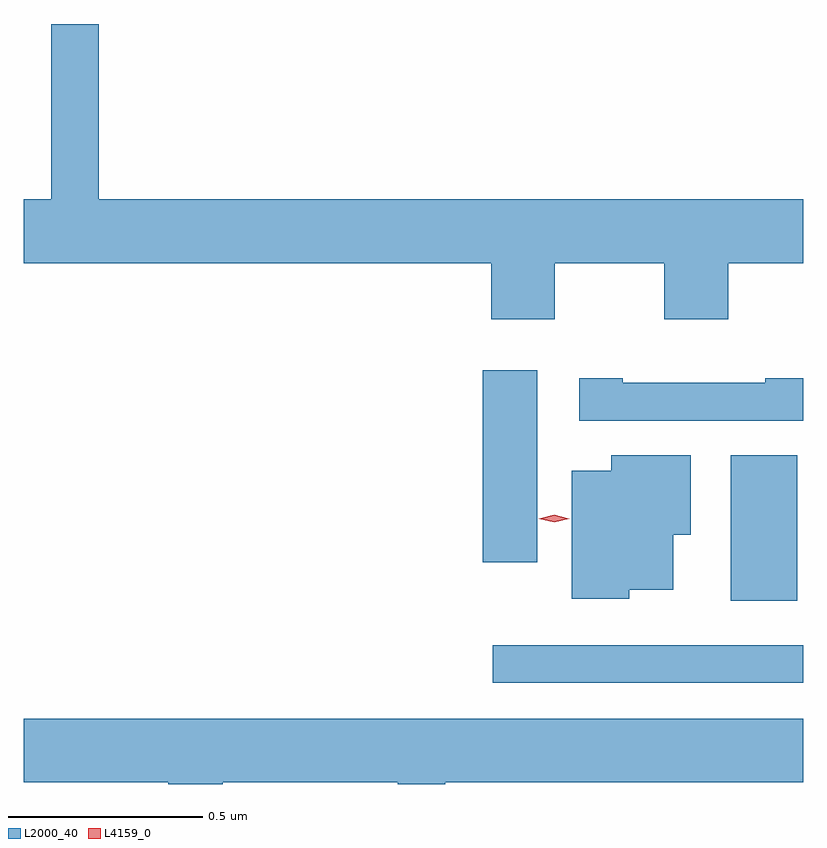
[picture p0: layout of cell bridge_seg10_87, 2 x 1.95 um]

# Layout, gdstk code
import gdstk
lib = gdstk.Library(unit=1e-6, precision=1e-09)
def R(c, l, rs):  # rectangles x0, y0, x1, y1
    for r in rs: c.add(gdstk.rectangle(r[:2], r[2:], *l))
def P(c, l, *ps):  # polygons
    for p in ps: c.add(gdstk.Polygon(p, *l))
L2000_40 = (2000, 40)
L4159_0 = (4159, 0)

bridge_seg10_87 = lib.new_cell('bridge_seg10_87')
R(bridge_seg10_87, L2000_40, [(657.987,1307.232,658.784,1307.328), (658.598,1307.442,658.768,1307.815), (657.962,1307.541,658.102,1308.034)])
P(bridge_seg10_87, L2000_40, [(658.147,1308.308),(658.427,1308.308),(658.427,1308.165),(658.591,1308.165),(658.591,1308.308),(658.784,1308.308),(658.784,1308.472),(656.977,1308.472),(656.977,1308.922),(656.855,1308.922),(656.855,1308.472),(656.784,1308.472),(656.784,1308.308),(657.983,1308.308),(657.983,1308.165),(658.147,1308.165)],
  [(658.784,1308.013),(658.687,1308.013),(658.687,1308.001),(658.321,1308.001),(658.321,1308.013),(658.209,1308.013),(658.209,1307.904),(658.784,1307.904)],
  [(658.338,1307.471),(658.45,1307.471),(658.45,1307.612),(658.495,1307.612),(658.495,1307.815),(658.292,1307.815),(658.292,1307.776),(658.19,1307.776),(658.19,1307.447),(658.338,1307.447)],
  [(657.295,1306.976),(657.743,1306.976),(657.743,1306.972),(657.865,1306.972),(657.865,1306.976),(658.784,1306.976),(658.784,1307.14),(656.784,1307.14),(656.784,1306.976),(657.155,1306.976),(657.155,1306.972),(657.295,1306.972)])
P(bridge_seg10_87, L4159_0, [(658.145,1307.643),(658.106,1307.653),(658.105,1307.653),(658.106,1307.653),(658.145,1307.663),(658.184,1307.653),(658.184,1307.653),(658.184,1307.653)])

lib.write_gds('bridge_seg10_87.gds')
